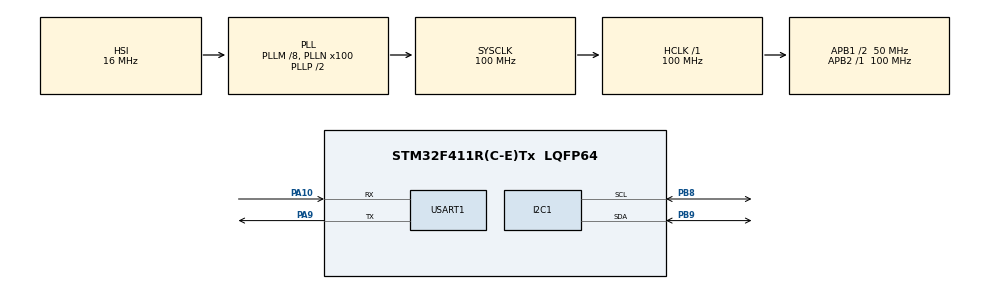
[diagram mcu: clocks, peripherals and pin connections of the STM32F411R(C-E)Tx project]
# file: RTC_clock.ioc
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Mcu.Family=STM32F4
Mcu.Name=STM32F411R(C-E)Tx
Mcu.Package=LQFP64
NVIC.PriorityGroup=NVIC_PRIORITYGROUP_4
PA10.Mode=Asynchronous
PA10.Signal=USART1_RX
PA13.Mode=Serial_Wire
PA13.Signal=SYS_JTMS-SWDIO
PA14.Mode=Serial_Wire
PA14.Signal=SYS_JTCK-SWCLK
PA9.Mode=Asynchronous
PA9.Signal=USART1_TX
PB8.Mode=I2C
PB8.Signal=I2C1_SCL
PB9.Mode=I2C
PB9.Signal=I2C1_SDA
PC14-OSC32_IN.Mode=LSE-External-Oscillator
PC14-OSC32_IN.Signal=RCC_OSC32_IN
PC15-OSC32_OUT.Mode=LSE-External-Oscillator
PC15-OSC32_OUT.Signal=RCC_OSC32_OUT
PH0\ -\ OSC_IN.Mode=HSE-External-Oscillator
PH0\ -\ OSC_IN.Signal=RCC_OSC_IN
PH1\ -\ OSC_OUT.Mode=HSE-External-Oscillator
PH1\ -\ OSC_OUT.Signal=RCC_OSC_OUT
ProjectManager.HeapSize=0x200
ProjectManager.StackSize=0x400
ProjectManager.TargetToolchain=STM32CubeIDE
RCC.48MHZClocksFreq_Value=50000000
RCC.AHBFreq_Value=100000000
RCC.APB1CLKDivider=RCC_HCLK_DIV2
RCC.APB1Freq_Value=50000000
RCC.APB1TimFreq_Value=100000000
RCC.APB2Freq_Value=100000000
RCC.APB2TimFreq_Value=100000000
RCC.CortexFreq_Value=100000000
RCC.HCLKFreq_Value=100000000
RCC.HSE_VALUE=25000000
RCC.HSI_VALUE=16000000
RCC.PLLM=8
RCC.PLLN=100
RCC.RCC_RTC_Clock_Source=RCC_RTCCLKSOURCE_LSE
RCC.SYSCLKFreq_VALUE=100000000
RCC.SYSCLKSource=RCC_SYSCLKSOURCE_PLLCLK
RCC.VCOOutputFreq_Value=200000000
RTC.Date=6
RTC.Hours=17
RTC.Minutes=44
RTC.Month=RTC_MONTH_SEPTEMBER
RTC.WeekDay=RTC_WEEKDAY_FRIDAY
RTC.Year=24
USART1.VirtualMode=VM_ASYNC
VP_RTC_VS_RTC_Activate.Mode=RTC_Enabled
VP_RTC_VS_RTC_Calendar.Mode=RTC_Calendar
board=custom

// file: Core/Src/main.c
/* USER CODE BEGIN Header */
/**
  ******************************************************************************
  * @file           : main.c
  * @brief          : Main program body
  ******************************************************************************
  * @attention
  *
  * Copyright (c) 2024 STMicroelectronics.
  * All rights reserved.
  *
  * This software is licensed under terms that can be found in the LICENSE file
  * in the root directory of this software component.
  * If no LICENSE file comes with this software, it is provided AS-IS.
  *
  ******************************************************************************
  */
/* USER CODE END Header */
#include "main.h"

/* USER CODE BEGIN Includes */
#include "stdio.h"
#include "i2c-lcd.h"

/* USER CODE END Includes */

I2C_HandleTypeDef hi2c1;

RTC_HandleTypeDef hrtc;

UART_HandleTypeDef huart1;

void SystemClock_Config(void);
static void MX_GPIO_Init(void);
static void MX_RTC_Init(void);
static void MX_USART1_UART_Init(void);
static void MX_I2C1_Init(void);

/* USER CODE BEGIN 0 */
void set_time (uint8_t hr, uint8_t min, uint8_t sec)
{
	RTC_TimeTypeDef sTime = {0};

	sTime.Hours = hr;
	sTime.Minutes = min;
	sTime.Seconds = sec;
	sTime.DayLightSaving = RTC_DAYLIGHTSAVING_NONE;
	sTime.StoreOperation = RTC_STOREOPERATION_RESET;
	if (HAL_RTC_SetTime(&hrtc, &sTime, RTC_FORMAT_BIN) != HAL_OK)
	{
		Error_Handler();
	}
}

void set_date (uint8_t year, uint8_t month, uint8_t date, uint8_t day)  // monday = 1
{

	RTC_DateTypeDef sDate = {0};
	sDate.WeekDay = day;
	sDate.Month = month;
	sDate.Date = date;
	sDate.Year = year;
	if (HAL_RTC_SetDate(&hrtc, &sDate, RTC_FORMAT_BIN) != HAL_OK)
	{
		Error_Handler();
	}

}

void set_alarm (uint8_t hr, uint8_t min, uint8_t sec, uint8_t date)
{
	RTC_AlarmTypeDef sAlarm = {0};
	sAlarm.AlarmTime.Hours = hr;
	sAlarm.AlarmTime.Minutes = min;
	sAlarm.AlarmTime.Seconds = sec;
	sAlarm.AlarmTime.SubSeconds = 0;
	sAlarm.AlarmTime.DayLightSaving = RTC_DAYLIGHTSAVING_NONE;
	sAlarm.AlarmTime.StoreOperation = RTC_STOREOPERATION_RESET;
	sAlarm.AlarmMask = RTC_ALARMMASK_NONE;
	sAlarm.AlarmSubSecondMask = RTC_ALARMSUBSECONDMASK_ALL;
	sAlarm.AlarmDateWeekDaySel = RTC_ALARMDATEWEEKDAYSEL_DATE;
	sAlarm.AlarmDateWeekDay = date;
	sAlarm.Alarm = RTC_ALARM_A;
	if (HAL_RTC_SetAlarm_IT(&hrtc, &sAlarm, RTC_FORMAT_BIN) != HAL_OK)
	{
		Error_Handler();
	}
}

void get_time_date(char *time, char *date)
{
  RTC_DateTypeDef gDate;
  RTC_TimeTypeDef gTime;

  /* Get the RTC current Time */
  HAL_RTC_GetTime(&hrtc, &gTime, RTC_FORMAT_BIN);
  /* Get the RTC current Date */
  HAL_RTC_GetDate(&hrtc, &gDate, RTC_FORMAT_BIN);

  /* Display time Format: hh:mm:ss */
  sprintf((char*)time,"%02d:%02d:%02d",gTime.Hours, gTime.Minutes, gTime.Seconds);

  /* Display date Format: dd-mm-yyyy */
  sprintf((char*)date,"%02d-%02d-%2d",gDate.Date, gDate.Month, 2000 + gDate.Year);
}

void HAL_RTC_AlarmAEventCallback(RTC_HandleTypeDef *hrtc)
{
	HAL_GPIO_WritePin(GPIOA, GPIO_PIN_5, 1);  // turn the LED ON
}

char timeData[15];
char dateData[15];
/* USER CODE END 0 */

int main(void)
{

  /* MCU Configuration--------------------------------------------------------*/

  /* Reset of all peripherals, Initializes the Flash interface and the Systick. */
  HAL_Init();

  /* Configure the system clock */
  SystemClock_Config();

  /* Initialize all configured peripherals */
  MX_GPIO_Init();
  MX_RTC_Init();
  MX_USART1_UART_Init();
  MX_I2C1_Init();
  /* USER CODE BEGIN 2 */
  lcd_init();
  lcd_clear();
  set_alarm(15, 55, 0, 11);
  /* USER CODE END 2 */

  /* Infinite loop */
  while (1)
  {

    /* USER CODE BEGIN 3 */
	  get_time_date(timeData, dateData);
	  lcd_put_cur(0,0);
	  lcd_send_string(timeData);
	  lcd_put_cur(1,0);
	  lcd_send_string(dateData);
	  HAL_Delay(500);
  }
  /* USER CODE END 3 */
}

void SystemClock_Config(void)
{
  RCC_OscInitTypeDef RCC_OscInitStruct = {0};
  RCC_ClkInitTypeDef RCC_ClkInitStruct = {0};

  /** Configure the main internal regulator output voltage
  */
  __HAL_RCC_PWR_CLK_ENABLE();
  __HAL_PWR_VOLTAGESCALING_CONFIG(PWR_REGULATOR_VOLTAGE_SCALE1);

  /** Initializes the RCC Oscillators according to the specified parameters
  * in the RCC_OscInitTypeDef structure.
  */
  RCC_OscInitStruct.OscillatorType = RCC_OSCILLATORTYPE_HSI|RCC_OSCILLATORTYPE_LSE;
  RCC_OscInitStruct.LSEState = RCC_LSE_ON;
  RCC_OscInitStruct.HSIState = RCC_HSI_ON;
  RCC_OscInitStruct.HSICalibrationValue = RCC_HSICALIBRATION_DEFAULT;
  RCC_OscInitStruct.PLL.PLLState = RCC_PLL_ON;
  RCC_OscInitStruct.PLL.PLLSource = RCC_PLLSOURCE_HSI;
  RCC_OscInitStruct.PLL.PLLM = 8;
  RCC_OscInitStruct.PLL.PLLN = 100;
  RCC_OscInitStruct.PLL.PLLP = RCC_PLLP_DIV2;
  RCC_OscInitStruct.PLL.PLLQ = 4;
  if (HAL_RCC_OscConfig(&RCC_OscInitStruct) != HAL_OK)
  {
    Error_Handler();
  }

  /** Initializes the CPU, AHB and APB buses clocks
  */
  RCC_ClkInitStruct.ClockType = RCC_CLOCKTYPE_HCLK|RCC_CLOCKTYPE_SYSCLK
                              |RCC_CLOCKTYPE_PCLK1|RCC_CLOCKTYPE_PCLK2;
  RCC_ClkInitStruct.SYSCLKSource = RCC_SYSCLKSOURCE_PLLCLK;
  RCC_ClkInitStruct.AHBCLKDivider = RCC_SYSCLK_DIV1;
  RCC_ClkInitStruct.APB1CLKDivider = RCC_HCLK_DIV2;
  RCC_ClkInitStruct.APB2CLKDivider = RCC_HCLK_DIV1;

  if (HAL_RCC_ClockConfig(&RCC_ClkInitStruct, FLASH_LATENCY_3) != HAL_OK)
  {
    Error_Handler();
  }
}

static void MX_I2C1_Init(void)
{

  hi2c1.Instance = I2C1;
  hi2c1.Init.ClockSpeed = 100000;
  hi2c1.Init.DutyCycle = I2C_DUTYCYCLE_2;
  hi2c1.Init.OwnAddress1 = 0;
  hi2c1.Init.AddressingMode = I2C_ADDRESSINGMODE_7BIT;
  hi2c1.Init.DualAddressMode = I2C_DUALADDRESS_DISABLE;
  hi2c1.Init.OwnAddress2 = 0;
  hi2c1.Init.GeneralCallMode = I2C_GENERALCALL_DISABLE;
  hi2c1.Init.NoStretchMode = I2C_NOSTRETCH_DISABLE;
  if (HAL_I2C_Init(&hi2c1) != HAL_OK)
  {
    Error_Handler();
  }

}

static void MX_RTC_Init(void)
{

  RTC_TimeTypeDef sTime = {0};
  RTC_DateTypeDef sDate = {0};

  /** Initialize RTC Only
  */
  hrtc.Instance = RTC;
  hrtc.Init.HourFormat = RTC_HOURFORMAT_24;
  hrtc.Init.AsynchPrediv = 127;
  hrtc.Init.SynchPrediv = 255;
  hrtc.Init.OutPut = RTC_OUTPUT_DISABLE;
  hrtc.Init.OutPutPolarity = RTC_OUTPUT_POLARITY_HIGH;
  hrtc.Init.OutPutType = RTC_OUTPUT_TYPE_OPENDRAIN;
  if (HAL_RTC_Init(&hrtc) != HAL_OK)
  {
    Error_Handler();
  }

  /** Initialize RTC and set the Time and Date
  */
  sTime.Hours = 0x17;
  sTime.Minutes = 0x44;
  sTime.Seconds = 0x0;
  sTime.DayLightSaving = RTC_DAYLIGHTSAVING_NONE;
  sTime.StoreOperation = RTC_STOREOPERATION_RESET;
  if (HAL_RTC_SetTime(&hrtc, &sTime, RTC_FORMAT_BCD) != HAL_OK)
  {
    Error_Handler();
  }
  sDate.WeekDay = RTC_WEEKDAY_FRIDAY;
  sDate.Month = RTC_MONTH_SEPTEMBER;
  sDate.Date = 0x6;
  sDate.Year = 0x24;

  if (HAL_RTC_SetDate(&hrtc, &sDate, RTC_FORMAT_BCD) != HAL_OK)
  {
    Error_Handler();
  }

}

static void MX_USART1_UART_Init(void)
{

  huart1.Instance = USART1;
  huart1.Init.BaudRate = 115200;
  huart1.Init.WordLength = UART_WORDLENGTH_8B;
  huart1.Init.StopBits = UART_STOPBITS_1;
  huart1.Init.Parity = UART_PARITY_NONE;
  huart1.Init.Mode = UART_MODE_TX_RX;
  huart1.Init.HwFlowCtl = UART_HWCONTROL_NONE;
  huart1.Init.OverSampling = UART_OVERSAMPLING_16;
  if (HAL_UART_Init(&huart1) != HAL_OK)
  {
    Error_Handler();
  }

}

static void MX_GPIO_Init(void)
{

  /* GPIO Ports Clock Enable */
  __HAL_RCC_GPIOC_CLK_ENABLE();
  __HAL_RCC_GPIOH_CLK_ENABLE();
  __HAL_RCC_GPIOA_CLK_ENABLE();
  __HAL_RCC_GPIOB_CLK_ENABLE();

}

void Error_Handler(void)
{
  __disable_irq();
  while (1)
  {
  }
}
